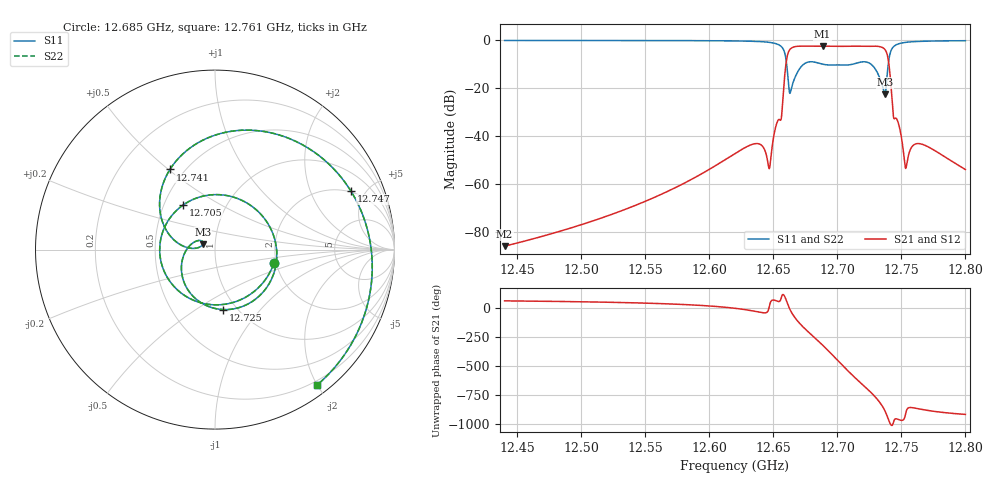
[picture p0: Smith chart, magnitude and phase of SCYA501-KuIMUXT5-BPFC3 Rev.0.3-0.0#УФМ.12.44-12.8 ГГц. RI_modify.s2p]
! AWR Design Environment (6079) Wed Aug 09 19:54:36 2023
! Simulator: Linear circuit simulator (flat)
! f0: 12700.012 MHz
! bw: 77.238 MHz
! Q: 6100
! N: 10
! matrix: [m_0_1 = 1.251046, m_1_1 = 0.000945, m_1_2 = 1.085858, m_2_2 = 0.000296, m_2_3 = 0.722821, m_2_8 = -0.000384, m_2_9 = 0.036320, m_3_3 = -0.001641, m_3_4 = 0.611350, m_3_7 = 0.000216, m_3_8 = -0.096872, m_3_9 = -0.000384, m_4_4 = -0.004566, m_4_5 = 0.447685, m_4_6 = 0.003733, m_4_7 = -0.117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
! Created with skrf (http://scikit-rf.org).
# GHz S RI R 50.0
!freq ReS11 ImS11 ReS21 ImS21 ReS12 ImS12 ReS22 ImS22
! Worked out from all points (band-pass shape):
!   3601 points, 12.44 GHz to 12.8 GHz, reference 50 ohm
!   highest |S21| = -2.40 dB at 12.688 GHz (marker M1); lowest = -86.1 dB at 12.44 GHz (marker M2)
!   |S21| within 3 dB of the highest: 12.661 GHz to 12.739 GHz (77.24 MHz wide, 0.608 % of centre)
!   lowest |S11| = -22.6 dB at 12.737 GHz (marker M3), VSWR 1.16, Z = 43.6 + j2.71 ohm
!   |S11| at or under -10 dB: 12.66037 GHz to 12.67359 GHz (13.22 MHz wide, 0.104 % of centre); 12.68902 GHz to 12.71151 GHz (22.49 MHz wide, 0.177 % of centre); 12.7264 GHz to 12.73972 GHz (13.32 MHz wide, 0.105 % of centre)
!   |S22| runs from -22.6 to 0.0 dB; largest |S21 - S12| = 0
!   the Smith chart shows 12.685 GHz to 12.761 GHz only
!   S11 on the Smith chart (normalised r, x): 12.685 GHz: 1.93, -0.34; 12.705 GHz: 0.63, +0.34; 12.725 GHz: 0.87, -0.65; 12.741 GHz: 0.42, +0.51; 12.747 GHz: 1.93, +3.94; 12.761 GHz: 0.14, -2.00
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12.44  -0.9063 0.4183  2.15e-05 4.49e-05  2.15e-05 4.49e-05  -0.9063 0.4183
12.5  -0.8413 0.5348  7.76e-05 0.000117  7.76e-05 0.000117  -0.8413 0.5348
12.56  -0.6765 0.7276  0.000425 0.000373  0.000425 0.000373  -0.6765 0.7276
12.62  -0.0379 0.9754  0.00431 -5.27e-06  0.00431 -5.27e-06  -0.0379 0.9754
12.6469  0.831 0.3721  0.00198 0.000705  0.00198 0.000705  0.831 0.3721
12.6567  0.2867 -0.6602  -0.0109 0.0306  -0.0109 0.0306  0.2867 -0.6602
12.6679  -0.1875 0.0454  -0.0846 -0.7445  -0.0846 -0.7445  -0.1875 0.0454
12.68  0.2833 0.2185  -0.4574 0.5973  -0.4574 0.5973  0.2833 0.2185
12.6851  0.3273 -0.0771  0.187 0.7335  0.187 0.7335  0.3273 -0.0771
12.6884  0.2129 -0.2373  0.5717 0.4985  0.5717 0.4985  0.2129 -0.2373
12.6982  -0.2856 -0.1152  0.2813 -0.6958  0.2813 -0.6958  -0.2856 -0.1152
12.7049  -0.1775 0.2485  -0.6143 -0.4356  -0.6143 -0.4356  -0.1775 0.2485
12.7154  0.3317 0.0611  -0.1514 0.7407  -0.1514 0.7407  0.3317 0.0611
12.7248  0.0459 -0.3341  0.7493 0.0759  0.7493 0.0759  0.0459 -0.3341
12.7321  -0.1813 -0.0545  0.1164 -0.7397  0.1164 -0.7397  -0.1813 -0.0545
12.7371  -0.0674 0.0309  -0.6322 -0.1396  -0.6322 -0.1396  -0.0674 0.0309
12.74  -0.3038 0.1966  -0.1377 0.329  -0.1377 0.329  -0.3038 0.1966
12.741  -0.2512 0.4464  0.0165 0.2095  0.0165 0.2095  -0.2512 0.4464
12.7466  0.7567 0.3268  -0.0113 0.0189  -0.0113 0.0189  0.7567 0.3268
12.7533  0.8268 -0.3812  -0.00205 0.000499  -0.00205 0.000499  0.8268 -0.3812
12.7605  0.5684 -0.7549  -0.00549 -0.00389  -0.00549 -0.00389  0.5684 -0.7549
12.8  -0.3655 -0.916  -0.00188 0.000666  -0.00188 0.000666  -0.3655 -0.916
